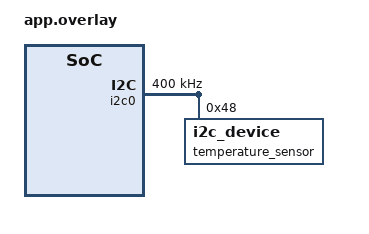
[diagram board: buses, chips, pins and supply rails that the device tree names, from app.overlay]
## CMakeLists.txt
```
cmake_minimum_required(VERSION 3.20.0)

# Load Zephyr build environment
find_package(Zephyr REQUIRED HINTS $ENV{ZEPHYR_BASE})

project(zephyr_i2c_demo)

# Target executable source files
target_sources(app PRIVATE src/main.c)
```

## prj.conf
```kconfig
CONFIG_LOG=y
CONFIG_LOG_MODE_IMMEDIATE=y
CONFIG_LOG_DEFAULT_LEVEL=3

CONFIG_I2C=y

CONFIG_SERIAL=y
CONFIG_CONSOLE=y
CONFIG_UART_CONSOLE=y

CONFIG_MULTITHREADING=y
CONFIG_SYS_CLOCK_TICKS_PER_SEC=1000
```

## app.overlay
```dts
/{
    aliases{
        temperature=&temp_sensor;
    };
};

&i2c0{
    status = "okay";
    clock-frequency = <I2C_BITRATE_FAST>;

    temp_sensor:temperature_sensor@48{
        compatible="i2c_device";
        reg=<0x48>;
        label="temperature_sensor";
    };
};
```

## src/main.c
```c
#include <zephyr/kernel.h>
#include <zephyr/drivers/i2c.h>
#include <zephyr/logging/log.h>

#define TEMP DT_ALIAS(temperature)

#if !DT_NODE_EXISTS(TEMP)
#error "No node as temp found"
#endif

K_MUTEX_DEFINE(mutex);
LOG_MODULE_REGISTER(app,LOG_LEVEL_INF);

static const struct i2c_dt_spec sensor = I2C_DT_SPEC_GET(TEMP);

int read_register(uint8_t reg1,uint8_t* data)
{
    int ret;
    //Locking the mutex
    k_mutex_lock(&mutex,K_FOREVER);

    //Writing and retriving the data...
    ret=i2c_write_read_dt(&sensor,&reg1,1,data,1);
    
    //Unlocking the mutex
    k_mutex_unlock(&mutex);
    
    return ret;
}


int main(void)
{
    int ret;
    LOG_INF("I2C communication test...");
    
    if(!i2c_is_ready_dt(&sensor))
    {
        LOG_ERR("SENSOR FAILED");
        return 0;
    }

    LOG_INF("SENSOR ADDR -> 0x%x",sensor.addr);

    while(1)
    {
        uint8_t data;
    
        ret=read_register(0x00,&data);

        if(ret==0)
        {
            LOG_INF("DATA -> %d",data);
        }
        else{
            LOG_ERR("FAILED TO READ");
        }
        k_msleep(500);
    }
    return 0;
}
```
